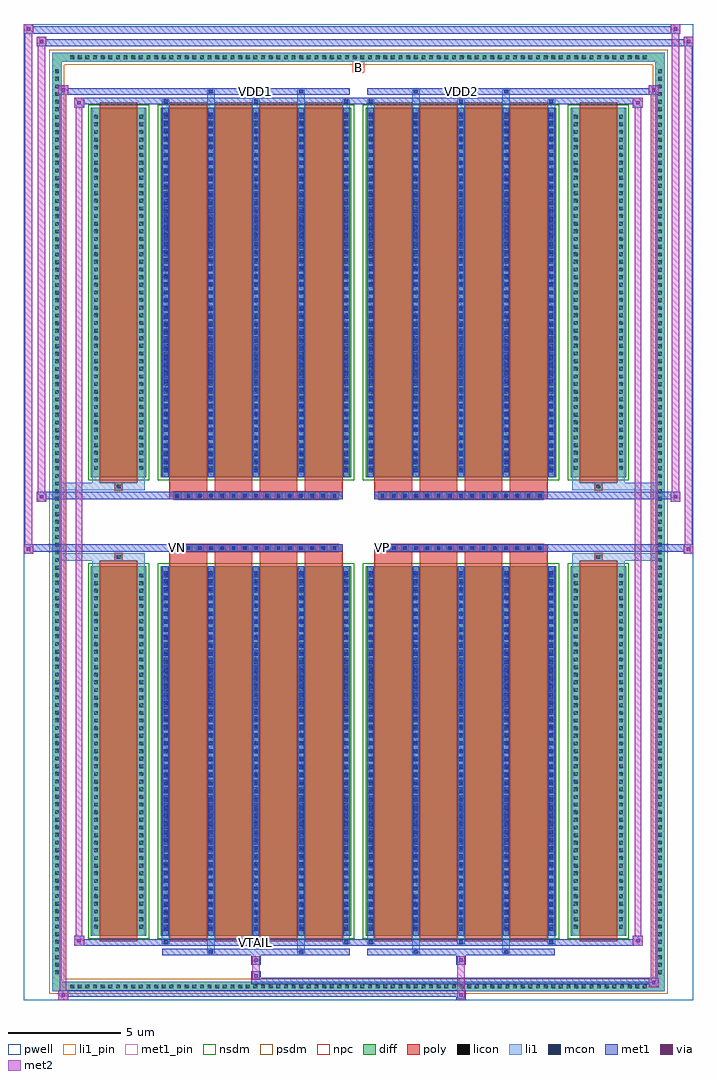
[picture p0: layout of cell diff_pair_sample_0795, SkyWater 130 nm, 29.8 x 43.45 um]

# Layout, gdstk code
import gdstk
lib = gdstk.Library(unit=1e-6, precision=5e-09)
def R(c, l, rs):  # rectangles x0, y0, x1, y1
    for r in rs: c.add(gdstk.rectangle(r[:2], r[2:], *l))
def A(c, l, x, y, w, h, nx, ny, dx, dy):  # array of equal rectangles
    R(c, l, [(x+i*dx, y+j*dy, x+i*dx+w, y+j*dy+h) for i in range(nx) for j in range(ny)])
def P(c, l, *ps):  # polygons
    for p in ps: c.add(gdstk.Polygon(p, *l))
pwell = (64, 44)
diff = (65, 20)
poly = (66, 20)
licon = (66, 44)
li1_pin = (67, 16)
li1 = (67, 20)
mcon = (67, 44)
met1_pin = (68, 16)
met1 = (68, 20)
via = (68, 44)
met2 = (69, 20)
nsdm = (93, 44)
psdm = (94, 20)
npc = (95, 20)

diff_pair_sample_0795 = lib.new_cell('diff_pair_sample_0795')
R(diff_pair_sample_0795, pwell, [(-14.9,-21.29,14.9,22.16), (-12.22,-19.48,-0.01,-0.8), (0.01,-19.48,12.22,-0.8), (-12.22,0.8,-0.01,19.48), (0.01,0.8,12.22,19.48)])
A(diff_pair_sample_0795, diff, -12.955, -20.89, 0.41, 0.41, 76, 2, 0.34, 41.37)
A(diff_pair_sample_0795, diff, -13.63, -20.265, 0.41, 0.41, 1, 119, 0, 0.34)
A(diff_pair_sample_0795, diff, 13.22, -20.265, 0.41, 0.41, 1, 119, 0, 0.34)
R(diff_pair_sample_0795, diff, [(-12.955,-20.89,12.955,-20.48), (-13.63,-20.265,-13.22,20.265), (13.22,-20.265,13.63,20.265), (-11.91,-18.435,-9.45,-1.985), (-8.81,-18.435,-0.32,-1.985), (0.32,-18.435,8.81,-1.985), (9.45,-18.435,11.91,-1.985), (-11.91,1.985,-9.45,18.435), (-8.81,1.985,-0.32,18.435), (0.32,1.985,8.81,18.435), (9.45,1.985,11.91,18.435), (-12.955,20.48,12.955,20.89)])
P(diff_pair_sample_0795, diff, [(13.63,20.89),(-13.63,20.89),(-13.63,-20.48),(-13.22,-20.48),(-13.22,20.48),(13.22,20.48),(13.22,-20.48),(-13.22,-20.48),(-13.63,-20.48),(-13.63,-20.89),(13.63,-20.89)])
A(diff_pair_sample_0795, poly, -8.42, -18.685, 1.68, 16.95, 4, 2, 2.01, 20.42)
A(diff_pair_sample_0795, poly, 0.71, -18.685, 1.68, 16.95, 4, 2, 2.01, 20.42)
A(diff_pair_sample_0795, poly, -8.42, -1.735, 1.68, 0.405, 4, 2, 2.01, 3.065)
A(diff_pair_sample_0795, poly, 0.71, -1.735, 1.68, 0.405, 4, 2, 2.01, 3.065)
A(diff_pair_sample_0795, poly, -8.23, -1.33, 0.33, 0.33, 15, 2, 0.5, 2.33)
A(diff_pair_sample_0795, poly, 0.9, -1.33, 0.33, 0.33, 15, 2, 0.5, 2.33)
R(diff_pair_sample_0795, poly, [(-11.52,-18.685,-9.84,-1.735), (9.84,-18.685,11.52,-1.735), (-10.845,-1.735,-10.515,-1.405), (-10.845,-1.735,-10.515,-1.405), (10.515,-1.735,10.845,-1.405), (10.515,-1.735,10.845,-1.405), (-8.42,-1.33,-0.71,-1), (0.71,-1.33,8.42,-1), (-8.42,1,-0.71,1.33), (0.71,1,8.42,1.33), (-10.845,1.405,-10.515,1.735), (-10.845,1.405,-10.515,1.735), (10.515,1.405,10.845,1.735), (10.515,1.405,10.845,1.735), (-11.52,1.735,-9.84,18.685), (9.84,1.735,11.52,18.685)])
A(diff_pair_sample_0795, licon, -12.835, -20.77, 0.17, 0.17, 76, 2, 0.34, 41.37)
A(diff_pair_sample_0795, licon, -13.51, -20.145, 0.17, 0.17, 1, 119, 0, 0.34)
A(diff_pair_sample_0795, licon, 13.34, -20.145, 0.17, 0.17, 1, 119, 0, 0.34)
A(diff_pair_sample_0795, licon, -11.77, -18.115, 0.17, 0.17, 1, 47, 0, 0.34)
A(diff_pair_sample_0795, licon, -9.76, -18.115, 0.17, 0.17, 1, 47, 0, 0.34)
A(diff_pair_sample_0795, licon, -8.67, -18.115, 0.17, 0.17, 5, 47, 2.01, 0.34)
A(diff_pair_sample_0795, licon, 0.46, -18.115, 0.17, 0.17, 5, 47, 2.01, 0.34)
A(diff_pair_sample_0795, licon, 9.59, -18.115, 0.17, 0.17, 1, 47, 0, 0.34)
A(diff_pair_sample_0795, licon, 11.6, -18.115, 0.17, 0.17, 1, 47, 0, 0.34)
A(diff_pair_sample_0795, licon, -8.15, -1.25, 0.17, 0.17, 15, 2, 0.5, 2.33)
A(diff_pair_sample_0795, licon, 0.98, -1.25, 0.17, 0.17, 15, 2, 0.5, 2.33)
A(diff_pair_sample_0795, licon, -11.77, 2.305, 0.17, 0.17, 1, 47, 0, 0.34)
A(diff_pair_sample_0795, licon, -9.76, 2.305, 0.17, 0.17, 1, 47, 0, 0.34)
A(diff_pair_sample_0795, licon, -8.67, 2.305, 0.17, 0.17, 5, 47, 2.01, 0.34)
A(diff_pair_sample_0795, licon, 0.46, 2.305, 0.17, 0.17, 5, 47, 2.01, 0.34)
A(diff_pair_sample_0795, licon, 9.59, 2.305, 0.17, 0.17, 1, 47, 0, 0.34)
A(diff_pair_sample_0795, licon, 11.6, 2.305, 0.17, 0.17, 1, 47, 0, 0.34)
R(diff_pair_sample_0795, licon, [(-10.765,-1.655,-10.595,-1.485), (10.595,-1.655,10.765,-1.485), (-10.765,1.485,-10.595,1.655), (10.595,1.485,10.765,1.655)])
R(diff_pair_sample_0795, li1_pin, [(-0.25,19.98,0.25,20.48)])
A(diff_pair_sample_0795, li1, -12.915, -20.85, 0.33, 0.33, 76, 2, 0.34, 41.37)
A(diff_pair_sample_0795, li1, -13.59, -20.225, 0.33, 0.33, 1, 119, 0, 0.34)
A(diff_pair_sample_0795, li1, 13.26, -20.225, 0.33, 0.33, 1, 119, 0, 0.34)
A(diff_pair_sample_0795, li1, -8.75, -18.81, 0.33, 0.375, 3, 2, 4.02, 37.245)
A(diff_pair_sample_0795, li1, -8.67, -18.81, 0.17, 0.17, 3, 2, 4.02, 37.45)
A(diff_pair_sample_0795, li1, 0.38, -18.81, 0.33, 0.375, 3, 2, 4.02, 37.245)
A(diff_pair_sample_0795, li1, 0.46, -18.81, 0.17, 0.17, 3, 2, 4.02, 37.45)
A(diff_pair_sample_0795, li1, -8.75, -18.435, 0.33, 16.45, 5, 2, 2.01, 20.42)
A(diff_pair_sample_0795, li1, 0.38, -18.435, 0.33, 16.45, 5, 2, 2.01, 20.42)
A(diff_pair_sample_0795, li1, -8.67, -18.215, 0.17, 0.17, 5, 45, 2.01, 0.36)
A(diff_pair_sample_0795, li1, -8.67, -18.215, 0.17, 16.01, 5, 2, 2.01, 20.42)
A(diff_pair_sample_0795, li1, 0.46, -18.215, 0.17, 0.17, 5, 45, 2.01, 0.36)
A(diff_pair_sample_0795, li1, 0.46, -18.215, 0.17, 16.01, 5, 2, 2.01, 20.42)
A(diff_pair_sample_0795, li1, -11.85, -18.195, 0.33, 0.33, 1, 47, 0, 0.34)
A(diff_pair_sample_0795, li1, -9.84, -18.195, 0.33, 0.33, 1, 47, 0, 0.34)
A(diff_pair_sample_0795, li1, -8.75, -18.195, 0.33, 0.33, 5, 47, 2.01, 0.34)
A(diff_pair_sample_0795, li1, 0.38, -18.195, 0.33, 0.33, 5, 47, 2.01, 0.34)
A(diff_pair_sample_0795, li1, 9.51, -18.195, 0.33, 0.33, 1, 47, 0, 0.34)
A(diff_pair_sample_0795, li1, 11.52, -18.195, 0.33, 0.33, 1, 47, 0, 0.34)
A(diff_pair_sample_0795, li1, -8.23, -1.33, 0.33, 0.33, 15, 2, 0.5, 2.33)
A(diff_pair_sample_0795, li1, 0.9, -1.33, 0.33, 0.33, 15, 2, 0.5, 2.33)
A(diff_pair_sample_0795, li1, -8.67, 2.205, 0.17, 0.17, 5, 45, 2.01, 0.36)
A(diff_pair_sample_0795, li1, 0.46, 2.205, 0.17, 0.17, 5, 45, 2.01, 0.36)
A(diff_pair_sample_0795, li1, -11.85, 2.225, 0.33, 0.33, 1, 47, 0, 0.34)
A(diff_pair_sample_0795, li1, -9.84, 2.225, 0.33, 0.33, 1, 47, 0, 0.34)
A(diff_pair_sample_0795, li1, -8.75, 2.225, 0.33, 0.33, 5, 47, 2.01, 0.34)
A(diff_pair_sample_0795, li1, 0.38, 2.225, 0.33, 0.33, 5, 47, 2.01, 0.34)
A(diff_pair_sample_0795, li1, 9.51, 2.225, 0.33, 0.33, 1, 47, 0, 0.34)
A(diff_pair_sample_0795, li1, 11.52, 2.225, 0.33, 0.33, 1, 47, 0, 0.34)
R(diff_pair_sample_0795, li1, [(-13.63,-20.89,-13.22,-20.48), (-13.63,-20.89,-13.22,-20.48), (-13.22,-20.89,13.22,-20.48), (13.22,-20.89,13.63,-20.48), (13.22,-20.89,13.63,-20.48), (-13.63,-20.48,-13.22,20.48), (13.22,-20.48,13.63,20.48), (-6.74,-19.24,-6.41,-18.435), (-6.66,-19.24,-6.49,-19.07), (-2.72,-19.24,-2.39,-18.435), (-2.64,-19.24,-2.47,-19.07), (2.39,-19.24,2.72,-18.435), (2.47,-19.24,2.64,-19.07), (6.41,-19.24,6.74,-18.435), (6.49,-19.24,6.66,-19.07), (-11.85,-18.435,-11.52,-1.985), (-9.84,-18.435,-9.51,-1.985), (9.51,-18.435,9.84,-1.985), (11.52,-18.435,11.85,-1.985), (-11.85,-1.985,-11.52,-1.405), (-9.84,-1.985,-9.51,-1.405), (9.51,-1.985,9.84,-1.405), (11.52,-1.985,11.85,-1.405), (-13.63,-1.735,-10.845,-1.405), (-11.85,-1.735,-10.845,-1.405), (-10.845,-1.735,-10.515,-1.405), (-10.515,-1.735,-9.51,-1.405), (9.51,-1.735,10.515,-1.405), (10.515,-1.735,10.845,-1.405), (10.515,-1.735,13.63,-1.405), (10.845,-1.735,11.85,-1.405), (-13.63,1.405,-10.845,1.735), (-11.85,1.405,-10.845,1.735), (-11.85,1.405,-11.52,1.985), (-10.845,1.405,-10.515,1.735), (-10.515,1.405,-9.51,1.735), (-9.84,1.405,-9.51,1.985), (9.51,1.405,10.515,1.735), (9.51,1.405,9.84,1.985), (10.515,1.405,10.845,1.735), (10.515,1.405,13.63,1.735), (10.845,1.405,11.85,1.735), (11.52,1.405,11.85,1.985), (-11.85,1.985,-11.52,18.435), (-9.84,1.985,-9.51,18.435), (9.51,1.985,9.84,18.435), (11.52,1.985,11.85,18.435), (-6.74,18.435,-6.41,19.24), (-2.72,18.435,-2.39,19.24), (2.39,18.435,2.72,19.24), (6.41,18.435,6.74,19.24), (-6.66,19.07,-6.49,19.24), (-2.64,19.07,-2.47,19.24), (2.47,19.07,2.64,19.24), (6.49,19.07,6.66,19.24), (-13.63,20.48,-13.22,20.89), (-13.63,20.48,-13.22,20.89), (-13.22,20.48,13.22,20.89), (13.22,20.48,13.63,20.89), (13.22,20.48,13.63,20.89)])
A(diff_pair_sample_0795, mcon, -8.67, -18.81, 0.17, 0.17, 3, 2, 4.02, 37.45)
A(diff_pair_sample_0795, mcon, 0.46, -18.81, 0.17, 0.17, 3, 2, 4.02, 37.45)
A(diff_pair_sample_0795, mcon, -8.67, -18.215, 0.17, 0.17, 5, 45, 2.01, 0.36)
A(diff_pair_sample_0795, mcon, 0.46, -18.215, 0.17, 0.17, 5, 45, 2.01, 0.36)
A(diff_pair_sample_0795, mcon, -8.15, -1.25, 0.17, 0.17, 15, 2, 0.5, 2.33)
A(diff_pair_sample_0795, mcon, 0.98, -1.25, 0.17, 0.17, 15, 2, 0.5, 2.33)
A(diff_pair_sample_0795, mcon, -8.67, 2.205, 0.17, 0.17, 5, 45, 2.01, 0.36)
A(diff_pair_sample_0795, mcon, 0.46, 2.205, 0.17, 0.17, 5, 45, 2.01, 0.36)
R(diff_pair_sample_0795, mcon, [(-6.66,-19.24,-6.49,-19.07), (-2.64,-19.24,-2.47,-19.07), (2.47,-19.24,2.64,-19.07), (6.49,-19.24,6.66,-19.07), (-6.66,19.07,-6.49,19.24), (-2.64,19.07,-2.47,19.24), (2.47,19.07,2.64,19.24), (6.49,19.07,6.66,19.24)])
R(diff_pair_sample_0795, met1_pin, [(-4.7,-18.85,-4.43,-18.58), (-8.2,-1.29,-7.93,-1.02), (0.93,-1.29,1.2,-1.02), (-4.7,19.03,-4.43,19.3), (4.43,19.03,4.7,19.3)])
A(diff_pair_sample_0795, met1, -8.73, -18.87, 0.29, 0.29, 3, 2, 4.02, 37.45)
A(diff_pair_sample_0795, met1, 0.4, -18.87, 0.29, 0.29, 3, 2, 4.02, 37.45)
A(diff_pair_sample_0795, met1, -8.73, -18.435, 0.29, 16.45, 5, 2, 2.01, 20.42)
A(diff_pair_sample_0795, met1, 0.4, -18.435, 0.29, 16.45, 5, 2, 2.01, 20.42)
A(diff_pair_sample_0795, met1, -8.73, -18.275, 0.29, 0.29, 5, 45, 2.01, 0.36)
A(diff_pair_sample_0795, met1, 0.4, -18.275, 0.29, 0.29, 5, 45, 2.01, 0.36)
A(diff_pair_sample_0795, met1, -8.21, -1.31, 0.29, 0.29, 15, 2, 0.5, 2.33)
A(diff_pair_sample_0795, met1, 0.92, -1.31, 0.29, 0.29, 15, 2, 0.5, 2.33)
A(diff_pair_sample_0795, met1, -8.73, 2.145, 0.29, 0.29, 5, 45, 2.01, 0.36)
A(diff_pair_sample_0795, met1, 0.4, 2.145, 0.29, 0.29, 5, 45, 2.01, 0.36)
R(diff_pair_sample_0795, met1, [(-13.36,-21.29,-12.93,-20.86), (4.35,-21.29,4.78,-20.86), (-13.36,-21.15,4.78,-20.86), (12.93,-20.72,13.36,-20.29), (-4.78,-20.58,13.36,-20.29), (-4.78,-20.44,-4.35,-20.01), (-4.78,-19.73,-4.35,-19.3), (4.35,-19.73,4.78,-19.3), (-8.73,-19.3,-0.4,-19.01), (-6.72,-19.3,-6.43,-19.01), (-2.7,-19.3,-2.41,-19.01), (0.4,-19.3,8.73,-19.01), (2.41,-19.3,2.7,-19.01), (6.43,-19.3,6.72,-19.01), (-12.65,-18.87,-12.22,-18.44), (-12.65,-18.87,-8.73,-18.58), (-8.73,-18.87,-0.4,-18.58), (-0.4,-18.87,0.4,-18.58), (0.4,-18.87,8.73,-18.58), (8.73,-18.87,12.65,-18.58), (12.22,-18.87,12.65,-18.44), (-14.9,-1.43,-14.47,-1), (14.47,-1.43,14.9,-1), (-14.9,-1.33,-0.71,-1), (-8.42,-1.33,-0.71,-1), (0.71,-1.33,8.42,-1), (0.71,-1.33,14.9,-1), (-14.33,0.9,-13.9,1.33), (13.9,0.9,14.33,1.33), (-14.33,1,-8.42,1.33), (-8.42,1,-0.71,1.33), (0.71,1,8.42,1.33), (8.42,1,14.33,1.33), (-12.65,18.44,-12.22,18.87), (12.22,18.44,12.65,18.87), (-12.65,18.58,-8.73,18.87), (-8.73,18.58,-0.4,18.87), (-0.4,18.58,0.4,18.87), (0.4,18.58,8.73,18.87), (8.73,18.58,12.65,18.87), (-13.36,19.01,-12.93,19.44), (-13.36,19.01,-8.73,19.3), (-8.73,19.01,-0.4,19.3), (-6.72,19.01,-6.43,19.3), (-2.7,19.01,-2.41,19.3), (0.4,19.01,8.73,19.3), (2.41,19.01,2.7,19.3), (6.43,19.01,6.72,19.3), (8.73,19.01,13.36,19.3), (12.93,19.01,13.36,19.44), (-14.33,21.16,-13.9,21.59), (-14.33,21.16,-12.22,21.49), (-12.22,21.16,12.22,21.49), (12.22,21.16,14.9,21.49), (14.47,21.16,14.9,21.59), (-14.9,21.73,-14.47,22.16), (-14.9,21.73,-12.22,22.06), (-12.22,21.73,12.22,22.06), (12.22,21.73,14.33,22.06), (13.9,21.73,14.33,22.16)])
R(diff_pair_sample_0795, via, [(-13.22,-21.15,-13.07,-21), (4.49,-21.15,4.64,-21), (13.07,-20.58,13.22,-20.43), (-4.64,-20.3,-4.49,-20.15), (-4.64,-19.59,-4.49,-19.44), (4.49,-19.59,4.64,-19.44), (-12.51,-18.73,-12.36,-18.58), (12.36,-18.73,12.51,-18.58), (-14.76,-1.29,-14.61,-1.14), (14.61,-1.29,14.76,-1.14), (-14.19,1.04,-14.04,1.19), (14.04,1.04,14.19,1.19), (-12.51,18.58,-12.36,18.73), (12.36,18.58,12.51,18.73), (-13.22,19.15,-13.07,19.3), (13.07,19.15,13.22,19.3), (-14.19,21.3,-14.04,21.45), (14.61,21.3,14.76,21.45), (-14.76,21.87,-14.61,22.02), (14.04,21.87,14.19,22.02)])
R(diff_pair_sample_0795, met2, [(-13.36,-21.29,-12.93,-20.86), (-13.29,-21.29,-13,19.44), (-13,-21.29,-12.93,-20.86), (-13.31,-21.24,-12.98,-20.91), (4.4,-21.24,4.73,-20.91), (4.4,-20.91,4.73,-19.68), (12.93,-20.72,13.36,-20.29), (13,-20.72,13.29,19.44), (13.29,-20.72,13.36,-20.29), (12.98,-20.67,13.31,-20.34), (-4.73,-20.39,-4.4,-20.06), (-4.73,-20.06,-4.4,-19.68), (-4.73,-19.68,-4.4,-19.35), (4.4,-19.68,4.73,-19.35), (-12.65,-18.87,-12.22,-18.44), (-12.58,-18.87,-12.29,18.87), (-12.29,-18.87,-12.22,-18.44), (12.22,-18.87,12.65,-18.44), (12.29,-18.87,12.58,18.87), (12.58,-18.87,12.65,-18.44), (-12.6,-18.82,-12.27,-18.49), (12.27,-18.82,12.6,-18.49), (-14.9,-1.43,-14.47,-1), (-14.85,-1.43,-14.52,22.16), (-14.52,-1.43,-14.47,-1), (14.47,-1.43,14.9,-1), (14.52,-1.43,14.85,21.59), (14.85,-1.43,14.9,-1), (-14.85,-1.38,-14.52,-1.05), (14.52,-1.38,14.85,-1.05), (-14.33,0.9,-13.9,1.33), (-14.28,0.9,-13.95,21.59), (-13.95,0.9,-13.9,1.33), (13.9,0.9,14.33,1.33), (13.95,0.9,14.28,22.16), (14.28,0.9,14.33,1.33), (-14.28,0.95,-13.95,1.28), (13.95,0.95,14.28,1.28), (-12.65,18.44,-12.22,18.87), (-12.29,18.44,-12.22,18.87), (12.22,18.44,12.65,18.87), (12.58,18.44,12.65,18.87), (-12.6,18.49,-12.27,18.82), (12.27,18.49,12.6,18.82), (-13.36,19.01,-12.93,19.44), (-13,19.01,-12.93,19.44), (12.93,19.01,13.36,19.44), (13.29,19.01,13.36,19.44), (-13.31,19.06,-12.98,19.39), (12.98,19.06,13.31,19.39), (-14.33,21.16,-13.9,21.59), (-13.95,21.16,-13.9,21.59), (14.47,21.16,14.9,21.59), (14.85,21.16,14.9,21.59), (-14.28,21.21,-13.95,21.54), (14.52,21.21,14.85,21.54), (-14.9,21.73,-14.47,22.16), (-14.52,21.73,-14.47,22.16), (13.9,21.73,14.33,22.16), (14.28,21.73,14.33,22.16), (-14.85,21.78,-14.52,22.11), (13.95,21.78,14.28,22.11)])
R(diff_pair_sample_0795, nsdm, [(-12.04,-18.565,-9.32,-1.855), (-8.94,-18.565,-0.19,-1.855), (0.19,-18.565,8.94,-1.855), (9.32,-18.565,12.04,-1.855), (-12.04,1.855,-9.32,18.565), (-8.94,1.855,-0.19,18.565), (0.19,1.855,8.94,18.565), (9.32,1.855,12.04,18.565)])
P(diff_pair_sample_0795, psdm, [(13.76,21.02),(-13.76,21.02),(-13.76,-20.35),(-13.09,-20.35),(-13.09,20.35),(13.09,20.35),(13.09,-20.35),(-13.09,-20.35),(-13.76,-20.35),(-13.76,-21.02),(13.76,-21.02)])
A(diff_pair_sample_0795, npc, -8.25, -1.35, 0.37, 0.37, 15, 2, 0.5, 2.33)
A(diff_pair_sample_0795, npc, 0.88, -1.35, 0.37, 0.37, 15, 2, 0.5, 2.33)
R(diff_pair_sample_0795, npc, [(-10.865,-1.755,-10.495,-1.385), (10.495,-1.755,10.865,-1.385), (-8.25,-1.35,-7.38,-0.98), (-8.25,-1.35,-7.38,-0.98), (-7.75,-1.35,-6.88,-0.98), (-7.75,-1.35,-6.88,-0.98), (-7.25,-1.35,-6.38,-0.98), (-7.25,-1.35,-6.38,-0.98), (-6.75,-1.35,-5.88,-0.98), (-6.75,-1.35,-5.88,-0.98), (-6.25,-1.35,-5.38,-0.98), (-6.25,-1.35,-5.38,-0.98), (-5.75,-1.35,-4.88,-0.98), (-5.75,-1.35,-4.88,-0.98), (-5.25,-1.35,-4.38,-0.98), (-5.25,-1.35,-4.38,-0.98), (-4.75,-1.35,-3.88,-0.98), (-4.75,-1.35,-3.88,-0.98), (-4.25,-1.35,-3.38,-0.98), (-4.25,-1.35,-3.38,-0.98), (-3.75,-1.35,-2.88,-0.98), (-3.75,-1.35,-2.88,-0.98), (-3.25,-1.35,-2.38,-0.98), (-3.25,-1.35,-2.38,-0.98), (-2.75,-1.35,-1.88,-0.98), (-2.75,-1.35,-1.88,-0.98), (-2.25,-1.35,-1.38,-0.98), (-2.25,-1.35,-1.38,-0.98), (-1.75,-1.35,-0.88,-0.98), (-1.75,-1.35,-0.88,-0.98), (0.88,-1.35,1.75,-0.98), (0.88,-1.35,1.75,-0.98), (1.38,-1.35,2.25,-0.98), (1.38,-1.35,2.25,-0.98), (1.88,-1.35,2.75,-0.98), (1.88,-1.35,2.75,-0.98), (2.38,-1.35,3.25,-0.98), (2.38,-1.35,3.25,-0.98), (2.88,-1.35,3.75,-0.98), (2.88,-1.35,3.75,-0.98), (3.38,-1.35,4.25,-0.98), (3.38,-1.35,4.25,-0.98), (3.88,-1.35,4.75,-0.98), (3.88,-1.35,4.75,-0.98), (4.38,-1.35,5.25,-0.98), (4.38,-1.35,5.25,-0.98), (4.88,-1.35,5.75,-0.98), (4.88,-1.35,5.75,-0.98), (5.38,-1.35,6.25,-0.98), (5.38,-1.35,6.25,-0.98), (5.88,-1.35,6.75,-0.98), (5.88,-1.35,6.75,-0.98), (6.38,-1.35,7.25,-0.98), (6.38,-1.35,7.25,-0.98), (6.88,-1.35,7.75,-0.98), (6.88,-1.35,7.75,-0.98), (7.38,-1.35,8.25,-0.98), (7.38,-1.35,8.25,-0.98), (-8.25,0.98,-7.38,1.35), (-8.25,0.98,-7.38,1.35), (-7.75,0.98,-6.88,1.35), (-7.75,0.98,-6.88,1.35), (-7.25,0.98,-6.38,1.35), (-7.25,0.98,-6.38,1.35), (-6.75,0.98,-5.88,1.35), (-6.75,0.98,-5.88,1.35), (-6.25,0.98,-5.38,1.35), (-6.25,0.98,-5.38,1.35), (-5.75,0.98,-4.88,1.35), (-5.75,0.98,-4.88,1.35), (-5.25,0.98,-4.38,1.35), (-5.25,0.98,-4.38,1.35), (-4.75,0.98,-3.88,1.35), (-4.75,0.98,-3.88,1.35), (-4.25,0.98,-3.38,1.35), (-4.25,0.98,-3.38,1.35), (-3.75,0.98,-2.88,1.35), (-3.75,0.98,-2.88,1.35), (-3.25,0.98,-2.38,1.35), (-3.25,0.98,-2.38,1.35), (-2.75,0.98,-1.88,1.35), (-2.75,0.98,-1.88,1.35), (-2.25,0.98,-1.38,1.35), (-2.25,0.98,-1.38,1.35), (-1.75,0.98,-0.88,1.35), (-1.75,0.98,-0.88,1.35), (0.88,0.98,1.75,1.35), (0.88,0.98,1.75,1.35), (1.38,0.98,2.25,1.35), (1.38,0.98,2.25,1.35), (1.88,0.98,2.75,1.35), (1.88,0.98,2.75,1.35), (2.38,0.98,3.25,1.35), (2.38,0.98,3.25,1.35), (2.88,0.98,3.75,1.35), (2.88,0.98,3.75,1.35), (3.38,0.98,4.25,1.35), (3.38,0.98,4.25,1.35), (3.88,0.98,4.75,1.35), (3.88,0.98,4.75,1.35), (4.38,0.98,5.25,1.35), (4.38,0.98,5.25,1.35), (4.88,0.98,5.75,1.35), (4.88,0.98,5.75,1.35), (5.38,0.98,6.25,1.35), (5.38,0.98,6.25,1.35), (5.88,0.98,6.75,1.35), (5.88,0.98,6.75,1.35), (6.38,0.98,7.25,1.35), (6.38,0.98,7.25,1.35), (6.88,0.98,7.75,1.35), (6.88,0.98,7.75,1.35), (7.38,0.98,8.25,1.35), (7.38,0.98,8.25,1.35), (-10.865,1.385,-10.495,1.755), (10.495,1.385,10.865,1.755)])
diff_pair_sample_0795.add(gdstk.Label('VTAIL', (-4.565,-18.715), layer=68, texttype=5))
diff_pair_sample_0795.add(gdstk.Label('VN', (-8.065,-1.155), layer=68, texttype=5))
diff_pair_sample_0795.add(gdstk.Label('VP', (1.065,-1.155), layer=68, texttype=5))
diff_pair_sample_0795.add(gdstk.Label('B', (0,20.23), layer=67, texttype=5))
diff_pair_sample_0795.add(gdstk.Label('VDD2', (4.565,19.165), layer=68, texttype=5))
diff_pair_sample_0795.add(gdstk.Label('VDD1', (-4.565,19.165), layer=68, texttype=5))

lib.write_gds('diff_pair_sample_0795.gds')
